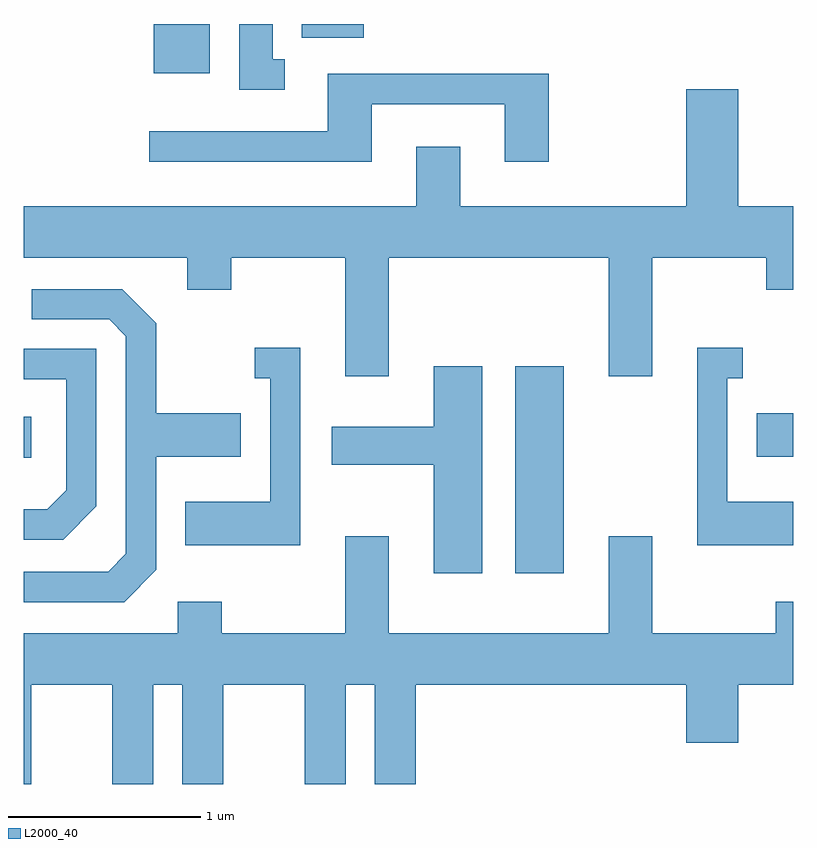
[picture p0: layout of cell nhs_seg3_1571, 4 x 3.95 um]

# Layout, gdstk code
import gdstk
lib = gdstk.Library(unit=1e-6, precision=1e-09)
def R(c, l, rs):  # rectangles x0, y0, x1, y1
    for r in rs: c.add(gdstk.rectangle(r[:2], r[2:], *l))
def P(c, l, *ps):  # polygons
    for p in ps: c.add(gdstk.Polygon(p, *l))
L2000_40 = (2000, 40)

nhs_seg3_1571 = lib.new_cell('nhs_seg3_1571')
R(nhs_seg3_1571, L2000_40, [(234.166,1131.036,234.419,1132.114), (231.611,1131.636,231.649,1131.849), (235.421,1131.641,235.611,1131.869), (232.286,1133.636,232.579,1133.892), (233.056,1133.821,233.379,1133.892)])
P(nhs_seg3_1571, L2000_40, [(232.968,1133.709),(232.904,1133.709),(232.904,1133.892),(232.731,1133.892),(232.731,1133.551),(232.968,1133.551)],
  [(233.419,1133.476),(234.111,1133.476),(234.111,1133.176),(234.339,1133.176),(234.339,1133.634),(233.191,1133.634),(233.191,1133.334),(232.263,1133.334),(232.263,1133.176),(233.419,1133.176)],
  [(233.879,1133.254),(233.651,1133.254),(233.651,1132.944),(231.611,1132.944),(231.611,1132.676),(232.461,1132.676),(232.461,1132.511),(232.689,1132.511),(232.689,1132.676),(233.281,1132.676),(233.281,1132.061),(233.509,1132.061),(233.509,1132.676),(234.651,1132.676),(234.651,1132.061),(234.879,1132.061),(234.879,1132.676),(235.471,1132.676),(235.471,1132.511),(235.611,1132.511),(235.611,1132.944),(235.324,1132.944),(235.324,1133.554),(235.056,1133.554),(235.056,1132.944),(233.879,1132.944)],
  [(232.299,1131.054),(232.299,1131.641),(232.739,1131.641),(232.739,1131.869),(232.299,1131.869),(232.299,1132.337),(232.122,1132.514),(231.653,1132.514),(231.653,1132.356),(232.054,1132.356),(232.141,1132.269),(232.141,1131.137),(232.049,1131.044),(231.611,1131.044),(231.611,1130.886),(232.132,1130.886)],
  [(233.049,1132.209),(232.813,1132.209),(232.813,1132.051),(232.891,1132.051),(232.891,1131.409),(232.451,1131.409),(232.451,1131.181),(233.049,1131.181)],
  [(235.611,1131.409),(235.269,1131.409),(235.269,1132.051),(235.348,1132.051),(235.348,1132.209),(235.111,1132.209),(235.111,1131.181),(235.611,1131.181)],
  [(231.989,1131.384),(231.989,1132.204),(231.611,1132.204),(231.611,1132.046),(231.831,1132.046),(231.831,1131.467),(231.734,1131.369),(231.611,1131.369),(231.611,1131.211),(231.817,1131.211)],
  [(233.994,1132.114),(233.741,1132.114),(233.741,1131.799),(233.211,1131.799),(233.211,1131.601),(233.741,1131.601),(233.741,1131.036),(233.994,1131.036)],
  [(231.649,1130.456),(232.071,1130.456),(232.071,1129.941),(232.284,1129.941),(232.284,1130.456),(232.436,1130.456),(232.436,1129.941),(232.649,1129.941),(232.649,1130.456),(233.071,1130.456),(233.071,1129.941),(233.284,1129.941),(233.284,1130.456),(233.436,1130.456),(233.436,1129.941),(233.649,1129.941),(233.649,1130.456),(235.056,1130.456),(235.056,1130.156),(235.324,1130.156),(235.324,1130.456),(235.611,1130.456),(235.611,1130.889),(235.521,1130.889),(235.521,1130.724),(234.879,1130.724),(234.879,1131.229),(234.651,1131.229),(234.651,1130.724),(233.509,1130.724),(233.509,1131.229),(233.281,1131.229),(233.281,1130.724),(232.639,1130.724),(232.639,1130.889),(232.411,1130.889),(232.411,1130.724),(231.611,1130.724),(231.611,1129.941),(231.649,1129.941)])

lib.write_gds('nhs_seg3_1571.gds')
